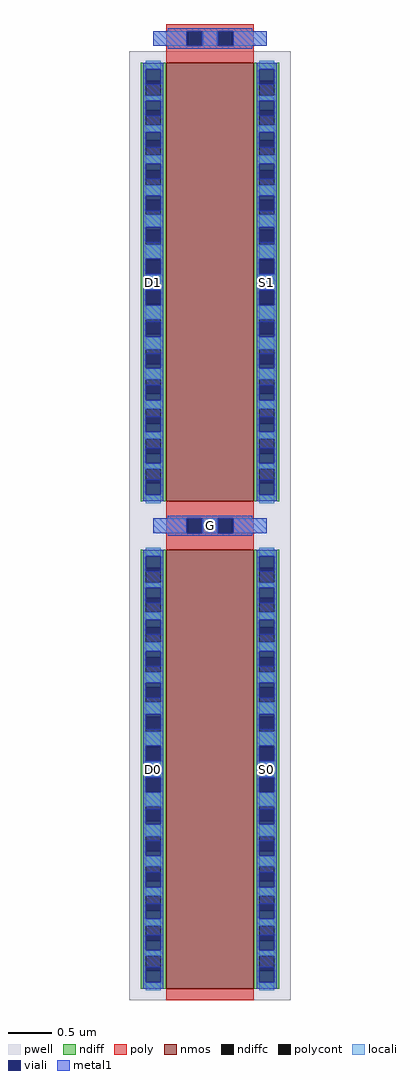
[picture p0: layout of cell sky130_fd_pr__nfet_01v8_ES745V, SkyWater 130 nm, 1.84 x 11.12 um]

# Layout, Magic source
magic
tech sky130A
magscale 1 2
<< pwell >>
rect -184 -1081 184 1081
<< nmos >>
rect -100 55 100 1055
rect -100 -1055 100 -55
<< ndiff >>
rect -158 1014 -100 1055
rect -158 980 -146 1014
rect -112 980 -100 1014
rect -158 946 -100 980
rect -158 912 -146 946
rect -112 912 -100 946
rect -158 878 -100 912
rect -158 844 -146 878
rect -112 844 -100 878
rect -158 810 -100 844
rect -158 776 -146 810
rect -112 776 -100 810
rect -158 742 -100 776
rect -158 708 -146 742
rect -112 708 -100 742
rect -158 674 -100 708
rect -158 640 -146 674
rect -112 640 -100 674
rect -158 606 -100 640
rect -158 572 -146 606
rect -112 572 -100 606
rect -158 538 -100 572
rect -158 504 -146 538
rect -112 504 -100 538
rect -158 470 -100 504
rect -158 436 -146 470
rect -112 436 -100 470
rect -158 402 -100 436
rect -158 368 -146 402
rect -112 368 -100 402
rect -158 334 -100 368
rect -158 300 -146 334
rect -112 300 -100 334
rect -158 266 -100 300
rect -158 232 -146 266
rect -112 232 -100 266
rect -158 198 -100 232
rect -158 164 -146 198
rect -112 164 -100 198
rect -158 130 -100 164
rect -158 96 -146 130
rect -112 96 -100 130
rect -158 55 -100 96
rect 100 1014 158 1055
rect 100 980 112 1014
rect 146 980 158 1014
rect 100 946 158 980
rect 100 912 112 946
rect 146 912 158 946
rect 100 878 158 912
rect 100 844 112 878
rect 146 844 158 878
rect 100 810 158 844
rect 100 776 112 810
rect 146 776 158 810
rect 100 742 158 776
rect 100 708 112 742
rect 146 708 158 742
rect 100 674 158 708
rect 100 640 112 674
rect 146 640 158 674
rect 100 606 158 640
rect 100 572 112 606
rect 146 572 158 606
rect 100 538 158 572
rect 100 504 112 538
rect 146 504 158 538
rect 100 470 158 504
rect 100 436 112 470
rect 146 436 158 470
rect 100 402 158 436
rect 100 368 112 402
rect 146 368 158 402
rect 100 334 158 368
rect 100 300 112 334
rect 146 300 158 334
rect 100 266 158 300
rect 100 232 112 266
rect 146 232 158 266
rect 100 198 158 232
rect 100 164 112 198
rect 146 164 158 198
rect 100 130 158 164
rect 100 96 112 130
rect 146 96 158 130
rect 100 55 158 96
rect -158 -96 -100 -55
rect -158 -130 -146 -96
rect -112 -130 -100 -96
rect -158 -164 -100 -130
rect -158 -198 -146 -164
rect -112 -198 -100 -164
rect -158 -232 -100 -198
rect -158 -266 -146 -232
rect -112 -266 -100 -232
rect -158 -300 -100 -266
rect -158 -334 -146 -300
rect -112 -334 -100 -300
rect -158 -368 -100 -334
rect -158 -402 -146 -368
rect -112 -402 -100 -368
rect -158 -436 -100 -402
rect -158 -470 -146 -436
rect -112 -470 -100 -436
rect -158 -504 -100 -470
rect -158 -538 -146 -504
rect -112 -538 -100 -504
rect -158 -572 -100 -538
rect -158 -606 -146 -572
rect -112 -606 -100 -572
rect -158 -640 -100 -606
rect -158 -674 -146 -640
rect -112 -674 -100 -640
rect -158 -708 -100 -674
rect -158 -742 -146 -708
rect -112 -742 -100 -708
rect -158 -776 -100 -742
rect -158 -810 -146 -776
rect -112 -810 -100 -776
rect -158 -844 -100 -810
rect -158 -878 -146 -844
rect -112 -878 -100 -844
rect -158 -912 -100 -878
rect -158 -946 -146 -912
rect -112 -946 -100 -912
rect -158 -980 -100 -946
rect -158 -1014 -146 -980
rect -112 -1014 -100 -980
rect -158 -1055 -100 -1014
rect 100 -96 158 -55
rect 100 -130 112 -96
rect 146 -130 158 -96
rect 100 -164 158 -130
rect 100 -198 112 -164
rect 146 -198 158 -164
rect 100 -232 158 -198
rect 100 -266 112 -232
rect 146 -266 158 -232
rect 100 -300 158 -266
rect 100 -334 112 -300
rect 146 -334 158 -300
rect 100 -368 158 -334
rect 100 -402 112 -368
rect 146 -402 158 -368
rect 100 -436 158 -402
rect 100 -470 112 -436
rect 146 -470 158 -436
rect 100 -504 158 -470
rect 100 -538 112 -504
rect 146 -538 158 -504
rect 100 -572 158 -538
rect 100 -606 112 -572
rect 146 -606 158 -572
rect 100 -640 158 -606
rect 100 -674 112 -640
rect 146 -674 158 -640
rect 100 -708 158 -674
rect 100 -742 112 -708
rect 146 -742 158 -708
rect 100 -776 158 -742
rect 100 -810 112 -776
rect 146 -810 158 -776
rect 100 -844 158 -810
rect 100 -878 112 -844
rect 146 -878 158 -844
rect 100 -912 158 -878
rect 100 -946 112 -912
rect 146 -946 158 -912
rect 100 -980 158 -946
rect 100 -1014 112 -980
rect 146 -1014 158 -980
rect 100 -1055 158 -1014
<< ndiffc >>
rect -146 980 -112 1014
rect -146 912 -112 946
rect -146 844 -112 878
rect -146 776 -112 810
rect -146 708 -112 742
rect -146 640 -112 674
rect -146 572 -112 606
rect -146 504 -112 538
rect -146 436 -112 470
rect -146 368 -112 402
rect -146 300 -112 334
rect -146 232 -112 266
rect -146 164 -112 198
rect -146 96 -112 130
rect 112 980 146 1014
rect 112 912 146 946
rect 112 844 146 878
rect 112 776 146 810
rect 112 708 146 742
rect 112 640 146 674
rect 112 572 146 606
rect 112 504 146 538
rect 112 436 146 470
rect 112 368 146 402
rect 112 300 146 334
rect 112 232 146 266
rect 112 164 146 198
rect 112 96 146 130
rect -146 -130 -112 -96
rect -146 -198 -112 -164
rect -146 -266 -112 -232
rect -146 -334 -112 -300
rect -146 -402 -112 -368
rect -146 -470 -112 -436
rect -146 -538 -112 -504
rect -146 -606 -112 -572
rect -146 -674 -112 -640
rect -146 -742 -112 -708
rect -146 -810 -112 -776
rect -146 -878 -112 -844
rect -146 -946 -112 -912
rect -146 -1014 -112 -980
rect 112 -130 146 -96
rect 112 -198 146 -164
rect 112 -266 146 -232
rect 112 -334 146 -300
rect 112 -402 146 -368
rect 112 -470 146 -436
rect 112 -538 146 -504
rect 112 -606 146 -572
rect 112 -674 146 -640
rect 112 -742 146 -708
rect 112 -810 146 -776
rect 112 -878 146 -844
rect 112 -946 146 -912
rect 112 -1014 146 -980
<< poly >>
rect -100 1127 100 1143
rect -100 1093 -51 1127
rect -17 1093 17 1127
rect 51 1093 100 1127
rect -100 1055 100 1093
rect -100 17 100 55
rect -100 -17 -51 17
rect -17 -17 17 17
rect 51 -17 100 17
rect -100 -55 100 -17
rect -100 -1081 100 -1055
<< polycont >>
rect -51 1093 -17 1127
rect 17 1093 51 1127
rect -51 -17 -17 17
rect 17 -17 51 17
<< locali >>
rect -129 1093 -53 1127
rect -17 1093 17 1127
rect 53 1093 129 1127
rect -146 1040 -112 1059
rect -146 968 -112 980
rect -146 896 -112 912
rect -146 824 -112 844
rect -146 752 -112 776
rect -146 680 -112 708
rect -146 608 -112 640
rect -146 538 -112 572
rect -146 470 -112 502
rect -146 402 -112 430
rect -146 334 -112 358
rect -146 266 -112 286
rect -146 198 -112 214
rect -146 130 -112 142
rect -146 51 -112 70
rect 112 1040 146 1059
rect 112 968 146 980
rect 112 896 146 912
rect 112 824 146 844
rect 112 752 146 776
rect 112 680 146 708
rect 112 608 146 640
rect 112 538 146 572
rect 112 470 146 502
rect 112 402 146 430
rect 112 334 146 358
rect 112 266 146 286
rect 112 198 146 214
rect 112 130 146 142
rect 112 51 146 70
rect -129 -17 -53 17
rect -17 -17 17 17
rect 53 -17 129 17
rect -146 -70 -112 -51
rect -146 -142 -112 -130
rect -146 -214 -112 -198
rect -146 -286 -112 -266
rect -146 -358 -112 -334
rect -146 -430 -112 -402
rect -146 -502 -112 -470
rect -146 -572 -112 -538
rect -146 -640 -112 -608
rect -146 -708 -112 -680
rect -146 -776 -112 -752
rect -146 -844 -112 -824
rect -146 -912 -112 -896
rect -146 -980 -112 -968
rect -146 -1059 -112 -1040
rect 112 -70 146 -51
rect 112 -142 146 -130
rect 112 -214 146 -198
rect 112 -286 146 -266
rect 112 -358 146 -334
rect 112 -430 146 -402
rect 112 -502 146 -470
rect 112 -572 146 -538
rect 112 -640 146 -608
rect 112 -708 146 -680
rect 112 -776 146 -752
rect 112 -844 146 -824
rect 112 -912 146 -896
rect 112 -980 146 -968
rect 112 -1059 146 -1040
<< viali >>
rect -53 1093 -51 1127
rect -51 1093 -19 1127
rect 19 1093 51 1127
rect 51 1093 53 1127
rect -146 1014 -112 1040
rect -146 1006 -112 1014
rect -146 946 -112 968
rect -146 934 -112 946
rect -146 878 -112 896
rect -146 862 -112 878
rect -146 810 -112 824
rect -146 790 -112 810
rect -146 742 -112 752
rect -146 718 -112 742
rect -146 674 -112 680
rect -146 646 -112 674
rect -146 606 -112 608
rect -146 574 -112 606
rect -146 504 -112 536
rect -146 502 -112 504
rect -146 436 -112 464
rect -146 430 -112 436
rect -146 368 -112 392
rect -146 358 -112 368
rect -146 300 -112 320
rect -146 286 -112 300
rect -146 232 -112 248
rect -146 214 -112 232
rect -146 164 -112 176
rect -146 142 -112 164
rect -146 96 -112 104
rect -146 70 -112 96
rect 112 1014 146 1040
rect 112 1006 146 1014
rect 112 946 146 968
rect 112 934 146 946
rect 112 878 146 896
rect 112 862 146 878
rect 112 810 146 824
rect 112 790 146 810
rect 112 742 146 752
rect 112 718 146 742
rect 112 674 146 680
rect 112 646 146 674
rect 112 606 146 608
rect 112 574 146 606
rect 112 504 146 536
rect 112 502 146 504
rect 112 436 146 464
rect 112 430 146 436
rect 112 368 146 392
rect 112 358 146 368
rect 112 300 146 320
rect 112 286 146 300
rect 112 232 146 248
rect 112 214 146 232
rect 112 164 146 176
rect 112 142 146 164
rect 112 96 146 104
rect 112 70 146 96
rect -53 -17 -51 17
rect -51 -17 -19 17
rect 19 -17 51 17
rect 51 -17 53 17
rect -146 -96 -112 -70
rect -146 -104 -112 -96
rect -146 -164 -112 -142
rect -146 -176 -112 -164
rect -146 -232 -112 -214
rect -146 -248 -112 -232
rect -146 -300 -112 -286
rect -146 -320 -112 -300
rect -146 -368 -112 -358
rect -146 -392 -112 -368
rect -146 -436 -112 -430
rect -146 -464 -112 -436
rect -146 -504 -112 -502
rect -146 -536 -112 -504
rect -146 -606 -112 -574
rect -146 -608 -112 -606
rect -146 -674 -112 -646
rect -146 -680 -112 -674
rect -146 -742 -112 -718
rect -146 -752 -112 -742
rect -146 -810 -112 -790
rect -146 -824 -112 -810
rect -146 -878 -112 -862
rect -146 -896 -112 -878
rect -146 -946 -112 -934
rect -146 -968 -112 -946
rect -146 -1014 -112 -1006
rect -146 -1040 -112 -1014
rect 112 -96 146 -70
rect 112 -104 146 -96
rect 112 -164 146 -142
rect 112 -176 146 -164
rect 112 -232 146 -214
rect 112 -248 146 -232
rect 112 -300 146 -286
rect 112 -320 146 -300
rect 112 -368 146 -358
rect 112 -392 146 -368
rect 112 -436 146 -430
rect 112 -464 146 -436
rect 112 -504 146 -502
rect 112 -536 146 -504
rect 112 -606 146 -574
rect 112 -608 146 -606
rect 112 -674 146 -646
rect 112 -680 146 -674
rect 112 -742 146 -718
rect 112 -752 146 -742
rect 112 -810 146 -790
rect 112 -824 146 -810
rect 112 -878 146 -862
rect 112 -896 146 -878
rect 112 -946 146 -934
rect 112 -968 146 -946
rect 112 -1014 146 -1006
rect 112 -1040 146 -1014
<< metal1 >>
rect -96 1127 96 1133
rect -129 1093 -53 1127
rect -19 1093 19 1127
rect 53 1093 129 1127
rect -96 1087 96 1093
rect -152 1040 -106 1055
rect -152 1006 -146 1040
rect -112 1006 -106 1040
rect -152 968 -106 1006
rect -152 934 -146 968
rect -112 934 -106 968
rect -152 896 -106 934
rect -152 862 -146 896
rect -112 862 -106 896
rect -152 824 -106 862
rect -152 790 -146 824
rect -112 790 -106 824
rect -152 752 -106 790
rect -152 718 -146 752
rect -112 718 -106 752
rect -152 680 -106 718
rect -152 646 -146 680
rect -112 646 -106 680
rect -152 608 -106 646
rect -152 574 -146 608
rect -112 574 -106 608
rect -152 536 -106 574
rect -152 502 -146 536
rect -112 502 -106 536
rect -152 464 -106 502
rect -152 430 -146 464
rect -112 430 -106 464
rect -152 392 -106 430
rect -152 358 -146 392
rect -112 358 -106 392
rect -152 320 -106 358
rect -152 286 -146 320
rect -112 286 -106 320
rect -152 248 -106 286
rect -152 214 -146 248
rect -112 214 -106 248
rect -152 176 -106 214
rect -152 142 -146 176
rect -112 142 -106 176
rect -152 104 -106 142
rect -152 70 -146 104
rect -112 70 -106 104
rect -152 55 -106 70
rect 106 1040 152 1055
rect 106 1006 112 1040
rect 146 1006 152 1040
rect 106 968 152 1006
rect 106 934 112 968
rect 146 934 152 968
rect 106 896 152 934
rect 106 862 112 896
rect 146 862 152 896
rect 106 824 152 862
rect 106 790 112 824
rect 146 790 152 824
rect 106 752 152 790
rect 106 718 112 752
rect 146 718 152 752
rect 106 680 152 718
rect 106 646 112 680
rect 146 646 152 680
rect 106 608 152 646
rect 106 574 112 608
rect 146 574 152 608
rect 106 536 152 574
rect 106 502 112 536
rect 146 502 152 536
rect 106 464 152 502
rect 106 430 112 464
rect 146 430 152 464
rect 106 392 152 430
rect 106 358 112 392
rect 146 358 152 392
rect 106 320 152 358
rect 106 286 112 320
rect 146 286 152 320
rect 106 248 152 286
rect 106 214 112 248
rect 146 214 152 248
rect 106 176 152 214
rect 106 142 112 176
rect 146 142 152 176
rect 106 104 152 142
rect 106 70 112 104
rect 146 70 152 104
rect 106 55 152 70
rect -96 17 96 23
rect -129 -17 -53 17
rect -19 -17 19 17
rect 53 -17 129 17
rect -96 -23 96 -17
rect -152 -70 -106 -55
rect -152 -104 -146 -70
rect -112 -104 -106 -70
rect -152 -142 -106 -104
rect -152 -176 -146 -142
rect -112 -176 -106 -142
rect -152 -214 -106 -176
rect -152 -248 -146 -214
rect -112 -248 -106 -214
rect -152 -286 -106 -248
rect -152 -320 -146 -286
rect -112 -320 -106 -286
rect -152 -358 -106 -320
rect -152 -392 -146 -358
rect -112 -392 -106 -358
rect -152 -430 -106 -392
rect -152 -464 -146 -430
rect -112 -464 -106 -430
rect -152 -502 -106 -464
rect -152 -536 -146 -502
rect -112 -536 -106 -502
rect -152 -574 -106 -536
rect -152 -608 -146 -574
rect -112 -608 -106 -574
rect -152 -646 -106 -608
rect -152 -680 -146 -646
rect -112 -680 -106 -646
rect -152 -718 -106 -680
rect -152 -752 -146 -718
rect -112 -752 -106 -718
rect -152 -790 -106 -752
rect -152 -824 -146 -790
rect -112 -824 -106 -790
rect -152 -862 -106 -824
rect -152 -896 -146 -862
rect -112 -896 -106 -862
rect -152 -934 -106 -896
rect -152 -968 -146 -934
rect -112 -968 -106 -934
rect -152 -1006 -106 -968
rect -152 -1040 -146 -1006
rect -112 -1040 -106 -1006
rect -152 -1055 -106 -1040
rect 106 -70 152 -55
rect 106 -104 112 -70
rect 146 -104 152 -70
rect 106 -142 152 -104
rect 106 -176 112 -142
rect 146 -176 152 -142
rect 106 -214 152 -176
rect 106 -248 112 -214
rect 146 -248 152 -214
rect 106 -286 152 -248
rect 106 -320 112 -286
rect 146 -320 152 -286
rect 106 -358 152 -320
rect 106 -392 112 -358
rect 146 -392 152 -358
rect 106 -430 152 -392
rect 106 -464 112 -430
rect 146 -464 152 -430
rect 106 -502 152 -464
rect 106 -536 112 -502
rect 146 -536 152 -502
rect 106 -574 152 -536
rect 106 -608 112 -574
rect 146 -608 152 -574
rect 106 -646 152 -608
rect 106 -680 112 -646
rect 146 -680 152 -646
rect 106 -718 152 -680
rect 106 -752 112 -718
rect 146 -752 152 -718
rect 106 -790 152 -752
rect 106 -824 112 -790
rect 146 -824 152 -790
rect 106 -862 152 -824
rect 106 -896 112 -862
rect 146 -896 152 -862
rect 106 -934 152 -896
rect 106 -968 112 -934
rect 146 -968 152 -934
rect 106 -1006 152 -968
rect 106 -1040 112 -1006
rect 146 -1040 152 -1006
rect 106 -1055 152 -1040
<< labels >>
rlabel locali s -129 -555 -129 -555 4 D0
rlabel locali s 129 -555 129 -555 4 S0
rlabel locali s 0 0 0 0 4 G
rlabel locali s -129 555 -129 555 4 D1
rlabel locali s 129 555 129 555 4 S1
<< end >>
